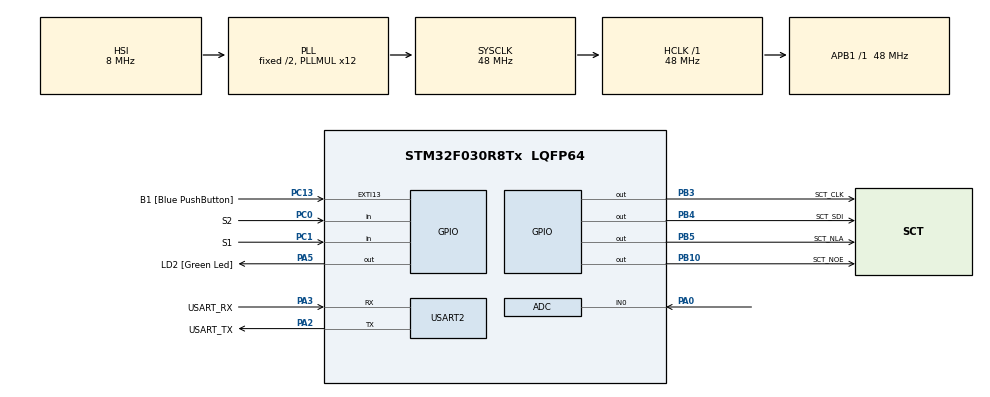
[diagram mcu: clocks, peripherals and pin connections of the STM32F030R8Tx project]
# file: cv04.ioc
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ADC.ContinuousConvMode=ENABLE
ADC.Overrun=ADC_OVR_DATA_OVERWRITTEN
ADC.SamplingTime=ADC_SAMPLETIME_239CYCLES_5
Mcu.Family=STM32F0
Mcu.Name=STM32F030R8Tx
Mcu.Package=LQFP64
NVIC.ADC1_IRQn=true\:0\:0\:false\:false\:true\:true\:true\:true
PA0.Mode=IN0
PA0.Signal=ADC_IN0
PA13.GPIO_Label=TMS
PA13.Mode=Serial_Wire
PA13.Signal=SYS_SWDIO
PA14.GPIO_Label=TCK
PA14.Mode=Serial_Wire
PA14.Signal=SYS_SWCLK
PA2.GPIO_Label=USART_TX
PA2.GPIO_Mode=GPIO_MODE_AF_PP
PA2.GPIO_PuPd=GPIO_NOPULL
PA2.GPIO_Speed=GPIO_SPEED_FREQ_LOW
PA2.Mode=Asynchronous
PA2.Signal=USART2_TX
PA3.GPIO_Label=USART_RX
PA3.GPIO_Mode=GPIO_MODE_AF_PP
PA3.GPIO_PuPd=GPIO_NOPULL
PA3.GPIO_Speed=GPIO_SPEED_FREQ_LOW
PA3.Mode=Asynchronous
PA3.Signal=USART2_RX
PA5.GPIO_Label=LD2 [Green Led]
PA5.GPIO_Mode=GPIO_MODE_OUTPUT_PP
PA5.GPIO_PuPd=GPIO_NOPULL
PA5.GPIO_Speed=GPIO_SPEED_FREQ_LOW
PA5.Signal=GPIO_Output
PB10.GPIO_Label=SCT_NOE
PB10.Signal=GPIO_Output
PB3.GPIO_Label=SCT_CLK
PB3.Signal=GPIO_Output
PB4.GPIO_Label=SCT_SDI
PB4.Signal=GPIO_Output
PB5.GPIO_Label=SCT_NLA
PB5.Signal=GPIO_Output
PC0.GPIO_Label=S2
PC0.GPIO_PuPd=GPIO_PULLUP
PC0.Signal=GPIO_Input
PC1.GPIO_Label=S1
PC1.GPIO_PuPd=GPIO_PULLUP
PC1.Signal=GPIO_Input
PC13.GPIO_Label=B1 [Blue PushButton]
PC13.GPIO_ModeDefaultEXTI=GPIO_MODE_IT_FALLING
PC13.Signal=GPXTI13
PC14-OSC32_IN.Mode=LSE-External-Oscillator
PC14-OSC32_IN.Signal=RCC_OSC32_IN
PC15-OSC32_OUT.Mode=LSE-External-Oscillator
PC15-OSC32_OUT.Signal=RCC_OSC32_OUT
PF0-OSC_IN.Mode=HSE-External-Clock-Source
PF0-OSC_IN.Signal=RCC_OSC_IN
PF1-OSC_OUT.Signal=RCC_OSC_OUT
ProjectManager.HeapSize=0x200
ProjectManager.StackSize=0x400
ProjectManager.TargetToolchain=STM32CubeIDE
RCC.AHBFreq_Value=48000000
RCC.APB1Freq_Value=48000000
RCC.APB1TimFreq_Value=48000000
RCC.HCLKFreq_Value=48000000
RCC.PLLMUL=RCC_PLL_MUL12
RCC.SYSCLKFreq_VALUE=48000000
RCC.SYSCLKSource=RCC_SYSCLKSOURCE_PLLCLK
USART2.VirtualMode-Asynchronous=VM_ASYNC
VP_ADC_TempSens_Input.Mode=IN-TempSens
VP_ADC_Vref_Input.Mode=IN-Vrefint
board=NUCLEO-F030R8

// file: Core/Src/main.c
/* USER CODE BEGIN Header */
/**
 ******************************************************************************
 * @file           : main.c
 * @brief          : Main program body
 ******************************************************************************
 * @attention
 *
 * Copyright (c) 2022 STMicroelectronics.
 * All rights reserved.
 *
 * This software is licensed under terms that can be found in the LICENSE file
 * in the root directory of this software component.
 * If no LICENSE file comes with this software, it is provided AS-IS.
 *
 ******************************************************************************
 */
/* USER CODE END Header */
#include "main.h"

/* USER CODE BEGIN Includes */
#include "sct.h"
/* USER CODE END Includes */

/* USER CODE BEGIN PD */
#define ADC_Q 12

/* Temperature sensor calibration value address */
#define TEMP110_CAL_ADDR ((uint16_t*) ((uint32_t) 0x1FFFF7C2))
#define TEMP30_CAL_ADDR ((uint16_t*) ((uint32_t) 0x1FFFF7B8))

/* Internal voltage reference calibration value address */
#define VREFINT_CAL_ADDR ((uint16_t*) ((uint32_t) 0x1FFFF7BA))

/* USER CODE END PD */

ADC_HandleTypeDef hadc;

UART_HandleTypeDef huart2;

/* USER CODE BEGIN PV */
static volatile uint32_t raw_pot;
static volatile uint32_t raw_temp;
static volatile uint32_t raw_volt;
static uint32_t avg_pot;

/* USER CODE END PV */

void SystemClock_Config(void);
static void MX_GPIO_Init(void);
static void MX_USART2_UART_Init(void);
static void MX_ADC_Init(void);

/* USER CODE BEGIN 0 */
void HAL_ADC_ConvCpltCallback(ADC_HandleTypeDef* hadc)
{
	static volatile uint32_t channel;

	if (channel == 0)
	{
		raw_pot = avg_pot >> ADC_Q;
		avg_pot -= raw_pot;
		avg_pot += HAL_ADC_GetValue(hadc);
	}
	else if (channel == 1)
	{
		raw_temp = HAL_ADC_GetValue(hadc);
	}
	else if (channel == 2)
	{
		raw_volt = HAL_ADC_GetValue(hadc);
	}

	if (__HAL_ADC_GET_FLAG(hadc, ADC_FLAG_EOS)) channel = 0;
	else channel++;

}
/* USER CODE END 0 */

int main(void)
{

	/* MCU Configuration--------------------------------------------------------*/

	/* Reset of all peripherals, Initializes the Flash interface and the Systick. */
	HAL_Init();

	/* Configure the system clock */
	SystemClock_Config();

	/* Initialize all configured peripherals */
	MX_GPIO_Init();
	MX_USART2_UART_Init();
	MX_ADC_Init();
	/* USER CODE BEGIN 2 */
	sct_init();
	HAL_ADCEx_Calibration_Start(&hadc);
	HAL_ADC_Start_IT(&hadc);

	/* USER CODE END 2 */

	/* Infinite loop */
	/* USER CODE BEGIN WHILE */
	while (1)
	{
		uint32_t voltage = 330 * (*VREFINT_CAL_ADDR) / raw_volt;
		int32_t temperature = (raw_temp - (int32_t)(*TEMP30_CAL_ADDR));
		temperature = temperature * (int32_t)(110 - 30);
		temperature = temperature / (int32_t)(*TEMP110_CAL_ADDR - *TEMP30_CAL_ADDR);
		temperature = temperature + 30;

		static enum { SHOW_POT, SHOW_VOLT, SHOW_TEMP } state = SHOW_POT;
		static uint32_t time;

		if (HAL_GPIO_ReadPin(S1_GPIO_Port, S1_Pin) == 0) {
			state = SHOW_VOLT;
			time = HAL_GetTick();

		}
		else if (HAL_GPIO_ReadPin(S2_GPIO_Port, S2_Pin) == 0) {
			state = SHOW_TEMP;
			time = HAL_GetTick();

		}

		if ((time + 1000) <= HAL_GetTick())
		{
			state = SHOW_POT;
		}

		switch(state) {

		case SHOW_POT:
			sct_value(raw_pot*500.5/4095, raw_pot*8/4095);
			HAL_Delay(50);
			break;
		case SHOW_TEMP:
			sct_value(temperature, raw_pot*8/4095);
			break;
		case SHOW_VOLT:
			sct_value(voltage, raw_pot*8/4095);
			break;

		}

		/* USER CODE END WHILE */

	}
}

void SystemClock_Config(void)
{
	RCC_OscInitTypeDef RCC_OscInitStruct = {0};
	RCC_ClkInitTypeDef RCC_ClkInitStruct = {0};

	/** Initializes the RCC Oscillators according to the specified parameters
	 * in the RCC_OscInitTypeDef structure.
	 */
	RCC_OscInitStruct.OscillatorType = RCC_OSCILLATORTYPE_HSI|RCC_OSCILLATORTYPE_HSI14;
	RCC_OscInitStruct.HSIState = RCC_HSI_ON;
	RCC_OscInitStruct.HSI14State = RCC_HSI14_ON;
	RCC_OscInitStruct.HSICalibrationValue = RCC_HSICALIBRATION_DEFAULT;
	RCC_OscInitStruct.HSI14CalibrationValue = 16;
	RCC_OscInitStruct.PLL.PLLState = RCC_PLL_ON;
	RCC_OscInitStruct.PLL.PLLSource = RCC_PLLSOURCE_HSI;
	RCC_OscInitStruct.PLL.PLLMUL = RCC_PLL_MUL12;
	RCC_OscInitStruct.PLL.PREDIV = RCC_PREDIV_DIV1;
	if (HAL_RCC_OscConfig(&RCC_OscInitStruct) != HAL_OK)
	{
		Error_Handler();
	}

	/** Initializes the CPU, AHB and APB buses clocks
	 */
	RCC_ClkInitStruct.ClockType = RCC_CLOCKTYPE_HCLK|RCC_CLOCKTYPE_SYSCLK
			|RCC_CLOCKTYPE_PCLK1;
	RCC_ClkInitStruct.SYSCLKSource = RCC_SYSCLKSOURCE_PLLCLK;
	RCC_ClkInitStruct.AHBCLKDivider = RCC_SYSCLK_DIV1;
	RCC_ClkInitStruct.APB1CLKDivider = RCC_HCLK_DIV1;

	if (HAL_RCC_ClockConfig(&RCC_ClkInitStruct, FLASH_LATENCY_1) != HAL_OK)
	{
		Error_Handler();
	}
}

static void MX_ADC_Init(void)
{

	ADC_ChannelConfTypeDef sConfig = {0};

	/** Configure the global features of the ADC (Clock, Resolution, Data Alignment and number of conversion)
	 */
	hadc.Instance = ADC1;
	hadc.Init.ClockPrescaler = ADC_CLOCK_ASYNC_DIV1;
	hadc.Init.Resolution = ADC_RESOLUTION_12B;
	hadc.Init.DataAlign = ADC_DATAALIGN_RIGHT;
	hadc.Init.ScanConvMode = ADC_SCAN_DIRECTION_FORWARD;
	hadc.Init.EOCSelection = ADC_EOC_SINGLE_CONV;
	hadc.Init.LowPowerAutoWait = DISABLE;
	hadc.Init.LowPowerAutoPowerOff = DISABLE;
	hadc.Init.ContinuousConvMode = ENABLE;
	hadc.Init.DiscontinuousConvMode = DISABLE;
	hadc.Init.ExternalTrigConv = ADC_SOFTWARE_START;
	hadc.Init.ExternalTrigConvEdge = ADC_EXTERNALTRIGCONVEDGE_NONE;
	hadc.Init.DMAContinuousRequests = DISABLE;
	hadc.Init.Overrun = ADC_OVR_DATA_OVERWRITTEN;
	if (HAL_ADC_Init(&hadc) != HAL_OK)
	{
		Error_Handler();
	}

	/** Configure for the selected ADC regular channel to be converted.
	 */
	sConfig.Channel = ADC_CHANNEL_0;
	sConfig.Rank = ADC_RANK_CHANNEL_NUMBER;
	sConfig.SamplingTime = ADC_SAMPLETIME_239CYCLES_5;
	if (HAL_ADC_ConfigChannel(&hadc, &sConfig) != HAL_OK)
	{
		Error_Handler();
	}

	/** Configure for the selected ADC regular channel to be converted.
	 */
	sConfig.Channel = ADC_CHANNEL_TEMPSENSOR;
	if (HAL_ADC_ConfigChannel(&hadc, &sConfig) != HAL_OK)
	{
		Error_Handler();
	}

	/** Configure for the selected ADC regular channel to be converted.
	 */
	sConfig.Channel = ADC_CHANNEL_VREFINT;
	if (HAL_ADC_ConfigChannel(&hadc, &sConfig) != HAL_OK)
	{
		Error_Handler();
	}

}

static void MX_USART2_UART_Init(void)
{

	huart2.Instance = USART2;
	huart2.Init.BaudRate = 38400;
	huart2.Init.WordLength = UART_WORDLENGTH_8B;
	huart2.Init.StopBits = UART_STOPBITS_1;
	huart2.Init.Parity = UART_PARITY_NONE;
	huart2.Init.Mode = UART_MODE_TX_RX;
	huart2.Init.HwFlowCtl = UART_HWCONTROL_NONE;
	huart2.Init.OverSampling = UART_OVERSAMPLING_16;
	huart2.Init.OneBitSampling = UART_ONE_BIT_SAMPLE_DISABLE;
	huart2.AdvancedInit.AdvFeatureInit = UART_ADVFEATURE_NO_INIT;
	if (HAL_UART_Init(&huart2) != HAL_OK)
	{
		Error_Handler();
	}

}

static void MX_GPIO_Init(void)
{
	GPIO_InitTypeDef GPIO_InitStruct = {0};

	/* GPIO Ports Clock Enable */
	__HAL_RCC_GPIOC_CLK_ENABLE();
	__HAL_RCC_GPIOF_CLK_ENABLE();
	__HAL_RCC_GPIOA_CLK_ENABLE();
	__HAL_RCC_GPIOB_CLK_ENABLE();

	/*Configure GPIO pin Output Level */
	HAL_GPIO_WritePin(GPIOA, GPIO_PIN_5, GPIO_PIN_RESET);

	/*Configure GPIO pin Output Level */
	HAL_GPIO_WritePin(GPIOB, GPIO_PIN_10|GPIO_PIN_3|GPIO_PIN_4|GPIO_PIN_5, GPIO_PIN_RESET);

	/*Configure GPIO pin : PC13 */
	GPIO_InitStruct.Pin = GPIO_PIN_13;
	GPIO_InitStruct.Mode = GPIO_MODE_IT_FALLING;
	GPIO_InitStruct.Pull = GPIO_NOPULL;
	HAL_GPIO_Init(GPIOC, &GPIO_InitStruct);

	/*Configure GPIO pins : PC0 PC1 */
	GPIO_InitStruct.Pin = GPIO_PIN_0|GPIO_PIN_1;
	GPIO_InitStruct.Mode = GPIO_MODE_INPUT;
	GPIO_InitStruct.Pull = GPIO_PULLUP;
	HAL_GPIO_Init(GPIOC, &GPIO_InitStruct);

	/*Configure GPIO pin : PA5 */
	GPIO_InitStruct.Pin = GPIO_PIN_5;
	GPIO_InitStruct.Mode = GPIO_MODE_OUTPUT_PP;
	GPIO_InitStruct.Pull = GPIO_NOPULL;
	GPIO_InitStruct.Speed = GPIO_SPEED_FREQ_LOW;
	HAL_GPIO_Init(GPIOA, &GPIO_InitStruct);

	/*Configure GPIO pins : PB10 PB3 PB4 PB5 */
	GPIO_InitStruct.Pin = GPIO_PIN_10|GPIO_PIN_3|GPIO_PIN_4|GPIO_PIN_5;
	GPIO_InitStruct.Mode = GPIO_MODE_OUTPUT_PP;
	GPIO_InitStruct.Pull = GPIO_NOPULL;
	GPIO_InitStruct.Speed = GPIO_SPEED_FREQ_LOW;
	HAL_GPIO_Init(GPIOB, &GPIO_InitStruct);

}

void Error_Handler(void)
{
	__disable_irq();
	while (1)
	{
	}
}
